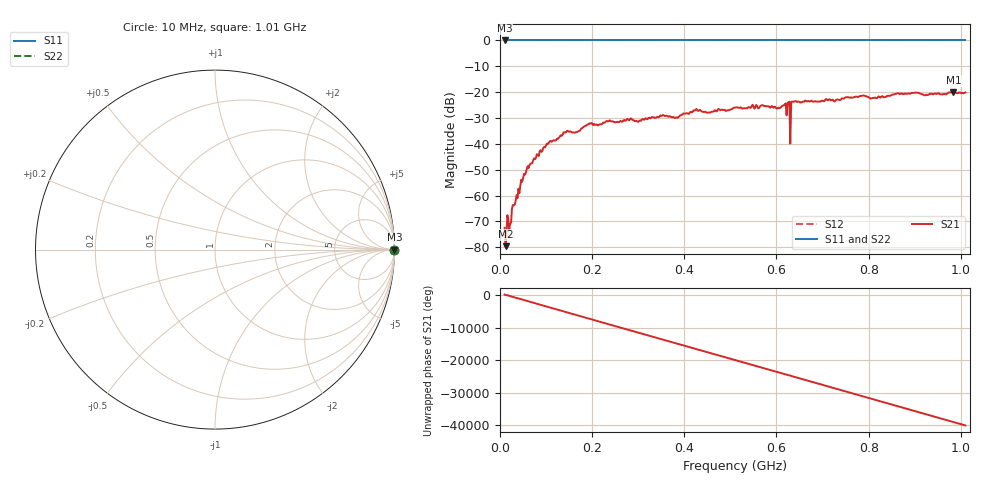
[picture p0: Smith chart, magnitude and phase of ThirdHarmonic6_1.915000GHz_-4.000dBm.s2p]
! 8/16/2025 11:05:41 PM
! C:\ANRITSUVNA\TEMP\TEMP.S2P
! CHANNEL.1
! TR.MEASUREMENT
! RAW.DATA
! RF.CORRECTION.OFF
! AVERAGING.OFF
! IF.BANDWIDTH: 5KHZ
! SWEEPTYPE:  FREQ.SWEEP(Linear)
! Reference Plane Port Info
! PORT:  PORT1  PORT2
! DISTANCE:  0  m  0  m
! TIME:  0  s  0  s
! PHASE.OFFSET:  0  deg.  0  deg.
! LOSS:  0  dB  0  dB
! REF.LOSS:  0  dB  0  dB
! REF.FREQ:  0  Hz  0  Hz
! Power Info
! POWER:  -20  dBm  -20  dBm
! EFF.POWER:  -20  dBm  -20  dBm
! SOURCE.ATTEN:  0  dB  0  dB
! TEST.ATTEN:  0  dB  0  dB
# GHZ S RI R 50.0
! FREQ.GHZ  S11RE  S11IM  S21RE  S21IM  S12RE  S12IM  S22RE  S22IM
!; PortSelection: Port_12
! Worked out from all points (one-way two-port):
!   501 points, 10 MHz to 1.01 GHz, reference 50 ohm
!   highest |S21| = -20.06 dB at 984 MHz (marker M1); lowest = -79.6 dB at 12 MHz (marker M2)
!   lowest |S11| = 0.0 dB at 10 MHz (marker M3)
!   |S11| at or under -10 dB: nowhere
!   |S22| runs from 0.0 to 0.0 dB; largest |S21 - S12| = 1.1
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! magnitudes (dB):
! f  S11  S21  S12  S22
! 10 MHz  0.0  -72.4  0.0  0.0
! 12 MHz  0.0  -79.6  0.0  0.0
! 16 MHz  0.0  -67.6  0.0  0.0
! 48 MHz  0.0  -54.6  0.0  0.0
! 62 MHz  0.0  -49.4  0.0  0.0
! 106 MHz  0.0  -39.6  0.0  0.0
! 142 MHz  0.0  -35.6  0.0  0.0
! 178 MHz  0.0  -33.9  0.0  0.0
! 196 MHz  0.0  -32.1  0.0  0.0
! 344 MHz  0.0  -29.7  0.0  0.0
! 382 MHz  0.0  -29.8  0.0  0.0
! 424 MHz  0.0  -26.9  0.0  0.0
! 452 MHz  0.0  -27.9  0.0  0.0
! 510 MHz  0.0  -26.0  0.0  0.0
! 624 MHz  0.0  -24.2  0.0  0.0
! 626 MHz  0.0  -23.9  0.0  0.0
! 634 MHz  0.0  -23.7  0.0  0.0
! 636 MHz  0.0  -23.7  0.0  0.0
! 678 MHz  0.0  -23.5  0.0  0.0
! 844 MHz  0.0  -21.4  0.0  0.0
! 984 MHz  0.0  -20.1  0.0  0.0
! 1.01 GHz  0.0  -20.1  0.0  0.0
